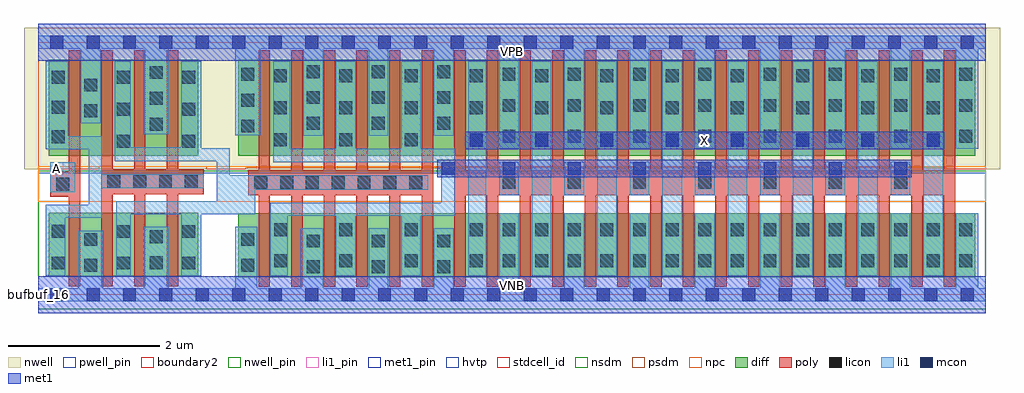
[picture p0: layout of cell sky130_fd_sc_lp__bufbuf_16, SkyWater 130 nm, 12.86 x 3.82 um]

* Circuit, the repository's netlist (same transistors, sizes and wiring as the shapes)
* Copyright 2020 The SkyWater PDK Authors
*
* Licensed under the Apache License, Version 2.0 (the "License");
* you may not use this file except in compliance with the License.
* You may obtain a copy of the License at
*
*     https://www.apache.org/licenses/LICENSE-2.0
*
* Unless required by applicable law or agreed to in writing, software
* distributed under the License is distributed on an "AS IS" BASIS,
* WITHOUT WARRANTIES OR CONDITIONS OF ANY KIND, either express or implied.
* See the License for the specific language governing permissions and
* limitations under the License.
*
* SPDX-License-Identifier: Apache-2.0

.SUBCKT sky130_fd_sc_lp__bufbuf_16 A VGND VNB VPB VPWR X
*.PININFO A:I VGND:I VNB:I VPB:I VPWR:I X:O
MMIN1 Ab A VGND VNB sky130_fd_pr__nfet_01v8 m=1 w=0.84U l=0.15U mult=1 sa=0.265
+ sb=0.265 sd=0.28 area=0.063 perim=1.14
MMIN2 Abb Ab VGND VNB sky130_fd_pr__nfet_01v8 m=3 w=0.84U l=0.15U mult=1 sa=0.265
+ sb=0.265 sd=0.28 area=0.063 perim=1.14
MMIN3 Abbb Abb VGND VNB sky130_fd_pr__nfet_01v8 m=6 w=0.84U l=0.15U mult=1 sa=0.265
+ sb=0.265 sd=0.28 area=0.063 perim=1.14
MMIN4 X Abbb VGND VNB sky130_fd_pr__nfet_01v8 m=16 w=0.84U l=0.15U mult=1 sa=0.265
+ sb=0.265 sd=0.28 area=0.063 perim=1.14
MMIP4 X Abbb VPWR VPB sky130_fd_pr__pfet_01v8_hvt m=16 w=1.26U l=0.15U mult=1 sa=0.265
+ sb=0.265 sd=0.28 area=0.063 perim=1.14
MMIP1 Ab A VPWR VPB sky130_fd_pr__pfet_01v8_hvt m=1 w=1.26U l=0.15U mult=1 sa=0.265
+ sb=0.265 sd=0.28 area=0.063 perim=1.14
MMIP2 Abb Ab VPWR VPB sky130_fd_pr__pfet_01v8_hvt m=3 w=1.26U l=0.15U mult=1 sa=0.265
+ sb=0.265 sd=0.28 area=0.063 perim=1.14
MI5 Abbb Abb VPWR VPB sky130_fd_pr__pfet_01v8_hvt m=6 w=1.26U l=0.15U mult=1 sa=0.265
+ sb=0.265 sd=0.28 area=0.063 perim=1.14
.ENDS sky130_fd_sc_lp__bufbuf_16

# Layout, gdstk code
import gdstk
lib = gdstk.Library(unit=1e-6, precision=1e-09)
def R(c, l, rs):  # rectangles x0, y0, x1, y1
    for r in rs: c.add(gdstk.rectangle(r[:2], r[2:], *l))
def A(c, l, x, y, w, h, nx, ny, dx, dy):  # array of equal rectangles
    R(c, l, [(x+i*dx, y+j*dy, x+i*dx+w, y+j*dy+h) for i in range(nx) for j in range(ny)])
def P(c, l, *ps):  # polygons
    for p in ps: c.add(gdstk.Polygon(p, *l))
nwell_pin = (64, 16)
nwell = (64, 20)
diff = (65, 20)
poly = (66, 20)
licon = (66, 44)
li1_pin = (67, 16)
li1 = (67, 20)
mcon = (67, 44)
met1_pin = (68, 16)
met1 = (68, 20)
hvtp = (78, 44)
stdcell_id = (81, 4)
nsdm = (93, 44)
psdm = (94, 20)
npc = (95, 20)
pwell_pin = (122, 16)
boundary2 = (236, 0)

sky130_fd_sc_lp__bufbuf_ = lib.new_cell('sky130_fd_sc_lp__bufbuf_16')
R(sky130_fd_sc_lp__bufbuf_, nwell_pin, [(0,3.085,12.48,3.33)])
R(sky130_fd_sc_lp__bufbuf_, nwell, [(-0.19,1.655,12.67,3.52)])
R(sky130_fd_sc_lp__bufbuf_, diff, [(2.635,0.235,12.345,1.075), (0.135,0.245,2.105,1.085), (0.135,1.835,2.105,3.095), (2.635,1.835,12.345,3.095)])
P(sky130_fd_sc_lp__bufbuf_, poly, [(0.55,3.225),(0.4,3.225),(0.4,1.625),(0.155,1.625),(0.155,1.295),(0.4,1.295),(0.4,0.115),(0.55,0.115)],
  [(2.18,1.655),(1.84,1.655),(1.84,3.225),(1.69,3.225),(1.69,1.655),(1.41,1.655),(1.41,3.225),(1.26,3.225),(1.26,1.655),(0.98,1.655),(0.98,3.225),(0.83,3.225),(0.83,0.115),(0.98,0.115),(0.98,1.325),(1.26,1.325),(1.26,0.115),(1.41,0.115),(1.41,1.325),(1.69,1.325),(1.69,0.115),(1.84,0.115),(1.84,1.325),(2.18,1.325)],
  [(5.2,3.225),(5.05,3.225),(5.05,1.645),(4.77,1.645),(4.77,3.225),(4.62,3.225),(4.62,1.645),(4.34,1.645),(4.34,3.225),(4.19,3.225),(4.19,1.645),(3.91,1.645),(3.91,3.225),(3.76,3.225),(3.76,1.645),(3.48,1.645),(3.48,3.225),(3.33,3.225),(3.33,1.645),(3.05,1.645),(3.05,3.225),(2.9,3.225),(2.9,1.645),(2.765,1.645),(2.765,1.315),(2.9,1.315),(2.9,0.105),(3.05,0.105),(3.05,1.315),(3.33,1.315),(3.33,0.105),(3.48,0.105),(3.48,1.315),(3.76,1.315),(3.76,0.105),(3.91,0.105),(3.91,1.315),(4.19,1.315),(4.19,0.105),(4.34,0.105),(4.34,1.315),(4.62,1.315),(4.62,0.105),(4.77,0.105),(4.77,1.315),(5.05,1.315),(5.05,0.105),(5.2,0.105)],
  [(12.08,3.225),(11.93,3.225),(11.93,1.645),(11.65,1.645),(11.65,3.225),(11.5,3.225),(11.5,1.645),(11.22,1.645),(11.22,3.225),(11.07,3.225),(11.07,1.645),(10.79,1.645),(10.79,3.225),(10.64,3.225),(10.64,1.645),(10.36,1.645),(10.36,3.225),(10.21,3.225),(10.21,1.645),(9.93,1.645),(9.93,3.225),(9.78,3.225),(9.78,1.645),(9.5,1.645),(9.5,3.225),(9.35,3.225),(9.35,1.645),(9.07,1.645),(9.07,3.225),(8.92,3.225),(8.92,1.645),(8.64,1.645),(8.64,3.225),(8.49,3.225),(8.49,1.645),(8.21,1.645),(8.21,3.225),(8.06,3.225),(8.06,1.645),(7.78,1.645),(7.78,3.225),(7.63,3.225),(7.63,1.645),(7.35,1.645),(7.35,3.225),(7.2,3.225),(7.2,1.645),(6.92,1.645),(6.92,3.225),(6.77,3.225),(6.77,1.645),(6.49,1.645),(6.49,3.225),(6.34,3.225),(6.34,1.645),(6.06,1.645),(6.06,3.225),(5.91,3.225),(5.91,1.645),(5.63,1.645),(5.63,3.225),(5.48,3.225),(5.48,0.105),(5.63,0.105),(5.63,1.315),(5.91,1.315),(5.91,0.105),(6.06,0.105),(6.06,1.315),(6.34,1.315),(6.34,0.105),(6.49,0.105),(6.49,1.315),(6.77,1.315),(6.77,0.105),(6.92,0.105),(6.92,1.315),(7.2,1.315),(7.2,0.105),(7.35,0.105),(7.35,1.315),(7.63,1.315),(7.63,0.105),(7.78,0.105),(7.78,1.315),(8.06,1.315),(8.06,0.105),(8.21,0.105),(8.21,1.315),(8.49,1.315),(8.49,0.105),(8.64,0.105),(8.64,1.315),(8.92,1.315),(8.92,0.105),(9.07,0.105),(9.07,1.315),(9.35,1.315),(9.35,0.105),(9.5,0.105),(9.5,1.315),(9.78,1.315),(9.78,0.105),(9.93,0.105),(9.93,1.315),(10.21,1.315),(10.21,0.105),(10.36,0.105),(10.36,1.315),(10.64,1.315),(10.64,0.105),(10.79,0.105),(10.79,1.315),(11.07,1.315),(11.07,0.105),(11.22,0.105),(11.22,1.315),(11.5,1.315),(11.5,0.105),(11.65,0.105),(11.65,1.315),(11.93,1.315),(11.93,0.105),(12.08,0.105)])
A(sky130_fd_sc_lp__bufbuf_, licon, 3.535, 0.285, 0.17, 0.17, 3, 2, 0.86, 0.34)
A(sky130_fd_sc_lp__bufbuf_, licon, 0.175, 0.335, 0.17, 0.17, 3, 2, 0.86, 2.445)
A(sky130_fd_sc_lp__bufbuf_, licon, 3.105, 0.365, 0.17, 0.17, 4, 2, 0.86, 0.41)
A(sky130_fd_sc_lp__bufbuf_, licon, 6.115, 0.365, 0.17, 0.17, 15, 2, 0.43, 0.41)
A(sky130_fd_sc_lp__bufbuf_, licon, 2.845, 1.395, 0.17, 0.17, 7, 1, 0.34, 0)
A(sky130_fd_sc_lp__bufbuf_, licon, 6.115, 1.395, 0.17, 0.17, 7, 1, 0.86, 0)
A(sky130_fd_sc_lp__bufbuf_, licon, 0.91, 1.405, 0.17, 0.17, 4, 1, 0.34, 0)
A(sky130_fd_sc_lp__bufbuf_, licon, 3.105, 1.96, 0.17, 0.17, 11, 3, 0.86, 0.42)
A(sky130_fd_sc_lp__bufbuf_, licon, 6.115, 2.005, 0.17, 0.17, 8, 2, 0.86, 0.405)
A(sky130_fd_sc_lp__bufbuf_, licon, 2.675, 2.14, 0.17, 0.17, 1, 3, 0, 0.34)
A(sky130_fd_sc_lp__bufbuf_, licon, 1.465, 2.165, 0.17, 0.17, 1, 3, 0, 0.34)
A(sky130_fd_sc_lp__bufbuf_, licon, 3.535, 2.175, 0.17, 0.17, 3, 3, 0.86, 0.34)
A(sky130_fd_sc_lp__bufbuf_, licon, 6.115, 2.82, 0.17, 0.17, 8, 1, 0.86, 0)
R(sky130_fd_sc_lp__bufbuf_, licon, [(0.605,0.305,0.775,0.475), (2.675,0.305,2.845,0.475), (1.465,0.34,1.635,0.51), (0.605,0.645,0.775,0.815), (2.675,0.645,2.845,0.815), (1.465,0.68,1.635,0.85), (1.035,0.75,1.205,0.92), (1.895,0.75,2.065,0.92), (0.175,0.755,0.345,0.925), (0.235,1.375,0.405,1.545), (1.035,1.94,1.205,2.11), (1.895,1.94,2.065,2.11), (0.175,2,0.345,2.17), (0.605,2.34,0.775,2.51), (1.035,2.36,1.205,2.53), (1.895,2.36,2.065,2.53), (0.175,2.385,0.345,2.555), (0.605,2.68,0.775,2.85)])
R(sky130_fd_sc_lp__bufbuf_, li1_pin, [(0.155,1.58,0.325,1.75)])
A(sky130_fd_sc_lp__bufbuf_, li1, 6.5, 0.255, 0.26, 2.82, 7, 1, 0.86, 0)
A(sky130_fd_sc_lp__bufbuf_, li1, 6.07, 1.315, 0.26, 0.44, 7, 1, 0.86, 0)
R(sky130_fd_sc_lp__bufbuf_, li1, [(5.665,0.255,5.9,3.075), (0.155,1.355,0.485,1.75)])
P(sky130_fd_sc_lp__bufbuf_, li1, [(2.18,1.59),(0.835,1.59),(0.835,2.09),(0.39,2.09),(0.39,3.075),(0.095,3.075),(0.095,1.92),(0.665,1.92),(0.665,1.185),(0.095,1.185),(0.095,0.255),(0.355,0.255),(0.355,1.015),(0.835,1.015),(0.835,1.405),(2.18,1.405)],
  [(5.135,1.575),(2.52,1.575),(2.52,1.93),(2.145,1.93),(2.145,3.075),(1.885,3.075),(1.885,1.945),(1.215,1.945),(1.215,3.075),(1.005,3.075),(1.005,1.76),(2.35,1.76),(2.35,1.235),(1.025,1.235),(1.025,0.255),(1.215,0.255),(1.215,1.065),(1.885,1.065),(1.885,0.255),(2.145,0.255),(2.145,1.065),(2.855,1.065),(2.855,1.385),(5.135,1.385)],
  [(5.495,1.925),(5.04,1.925),(5.04,3.075),(4.78,3.075),(4.78,1.925),(4.18,1.925),(4.18,3.075),(3.92,3.075),(3.92,1.925),(3.32,1.925),(3.32,3.075),(3.095,3.075),(3.095,1.745),(5.305,1.745),(5.305,1.215),(3.055,1.215),(3.055,0.255),(3.285,0.255),(3.285,1.045),(3.92,1.045),(3.92,0.255),(4.18,0.255),(4.18,1.045),(4.78,1.045),(4.78,0.255),(5.04,0.255),(5.04,1.045),(5.495,1.045)],
  [(12.48,0.085),(12.385,0.085),(12.385,1.075),(12.09,1.075),(12.09,0.085),(11.49,0.085),(11.49,1.075),(11.23,1.075),(11.23,0.085),(10.63,0.085),(10.63,1.075),(10.37,1.075),(10.37,0.085),(9.77,0.085),(9.77,1.075),(9.51,1.075),(9.51,0.085),(8.91,0.085),(8.91,1.075),(8.65,1.075),(8.65,0.085),(8.05,0.085),(8.05,1.075),(7.79,1.075),(7.79,0.085),(7.19,0.085),(7.19,1.075),(6.93,1.075),(6.93,0.085),(6.33,0.085),(6.33,1.075),(6.07,1.075),(6.07,0.085),(5.47,0.085),(5.47,0.875),(5.21,0.875),(5.21,0.085),(4.61,0.085),(4.61,0.875),(4.35,0.875),(4.35,0.085),(3.75,0.085),(3.75,0.875),(3.455,0.875),(3.455,0.085),(2.885,0.085),(2.885,0.895),(2.595,0.895),(2.595,0.085),(1.715,0.085),(1.715,0.895),(1.385,0.895),(1.385,0.085),(0.855,0.085),(0.855,0.845),(0.525,0.845),(0.525,0.085),(0,0.085),(0,-0.085),(12.48,-0.085)],
  [(12.48,3.415),(0,3.415),(0,3.245),(0.56,3.245),(0.56,2.26),(0.82,2.26),(0.82,3.245),(1.385,3.245),(1.385,2.115),(1.715,2.115),(1.715,3.245),(2.595,3.245),(2.595,2.1),(2.925,2.1),(2.925,3.245),(3.49,3.245),(3.49,2.095),(3.75,2.095),(3.75,3.245),(4.35,3.245),(4.35,2.095),(4.61,2.095),(4.61,3.245),(5.21,3.245),(5.21,2.095),(5.47,2.095),(5.47,3.245),(6.07,3.245),(6.07,1.925),(6.33,1.925),(6.33,3.245),(6.93,3.245),(6.93,1.925),(7.19,1.925),(7.19,3.245),(7.79,3.245),(7.79,1.925),(8.05,1.925),(8.05,3.245),(8.65,3.245),(8.65,1.925),(8.91,1.925),(8.91,3.245),(9.51,3.245),(9.51,1.925),(9.77,1.925),(9.77,3.245),(10.37,3.245),(10.37,1.925),(10.63,1.925),(10.63,3.245),(11.23,3.245),(11.23,1.925),(11.49,1.925),(11.49,3.245),(12.09,3.245),(12.09,1.925),(12.385,1.925),(12.385,3.245),(12.48,3.245)])
A(sky130_fd_sc_lp__bufbuf_, mcon, 0.155, -0.085, 0.17, 0.17, 26, 2, 0.48, 3.33)
A(sky130_fd_sc_lp__bufbuf_, mcon, 6.115, 1.58, 0.17, 0.17, 7, 1, 0.86, 0)
A(sky130_fd_sc_lp__bufbuf_, mcon, 5.685, 1.95, 0.17, 0.17, 8, 1, 0.86, 0)
R(sky130_fd_sc_lp__bufbuf_, mcon, [(5.315,1.58,5.485,1.75)])
R(sky130_fd_sc_lp__bufbuf_, met1_pin, [(0,0,12.48,0.245), (5.625,1.92,11.935,2.15), (0,3.085,12.48,3.33)])
R(sky130_fd_sc_lp__bufbuf_, met1, [(0,-0.245,12.48,0.245), (5.255,1.55,11.505,1.78), (5.625,1.92,11.935,2.15), (0,3.085,12.48,3.575)])
R(sky130_fd_sc_lp__bufbuf_, hvtp, [(0,1.6,12.48,3.33)])
R(sky130_fd_sc_lp__bufbuf_, stdcell_id, [(0,0,12.48,3.33)])
R(sky130_fd_sc_lp__bufbuf_, nsdm, [(0,-0.19,12.48,1.635)])
P(sky130_fd_sc_lp__bufbuf_, psdm, [(12.48,3.52),(0,3.52),(0,1.655),(0.8,1.655),(0.8,1.685),(2.21,1.685),(2.21,1.655),(2.735,1.655),(2.735,1.675),(11.96,1.675),(11.96,1.655),(12.48,1.655)])
R(sky130_fd_sc_lp__bufbuf_, npc, [(0,1.23,12.48,1.695)])
R(sky130_fd_sc_lp__bufbuf_, pwell_pin, [(0,0,12.48,0.245)])
R(sky130_fd_sc_lp__bufbuf_, boundary2, [(0,0,12.48,3.33)])
sky130_fd_sc_lp__bufbuf_.add(gdstk.Label('VNB', (6.24,0.123), layer=64, texttype=59))
sky130_fd_sc_lp__bufbuf_.add(gdstk.Label('VPB', (6.24,3.208), layer=64, texttype=5))
sky130_fd_sc_lp__bufbuf_.add(gdstk.Label('bufbuf_16', (0,0), layer=83, texttype=44))
sky130_fd_sc_lp__bufbuf_.add(gdstk.Label('X', (8.78,2.035), layer=68, texttype=5))
sky130_fd_sc_lp__bufbuf_.add(gdstk.Label('VPWR', (6.24,3.208), layer=68, texttype=5))
sky130_fd_sc_lp__bufbuf_.add(gdstk.Label('VGND', (6.24,0.123), layer=68, texttype=5))
sky130_fd_sc_lp__bufbuf_.add(gdstk.Label('A', (0.24,1.665), layer=67, texttype=5))

lib.write_gds('sky130_fd_sc_lp__bufbuf_16.gds')
